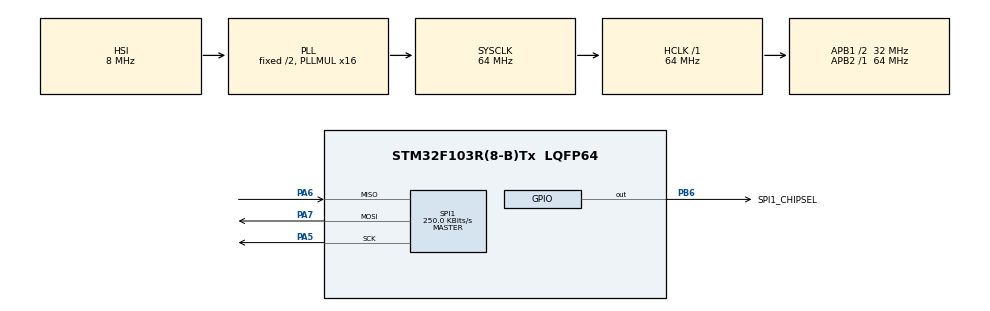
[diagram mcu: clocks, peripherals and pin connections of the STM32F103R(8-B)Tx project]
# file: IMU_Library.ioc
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Mcu.Family=STM32F1
Mcu.Name=STM32F103R(8-B)Tx
Mcu.Package=LQFP64
NVIC.PriorityGroup=NVIC_PRIORITYGROUP_4
PA5.Mode=Full_Duplex_Master
PA5.Signal=SPI1_SCK
PA6.Mode=Full_Duplex_Master
PA6.Signal=SPI1_MISO
PA7.Mode=Full_Duplex_Master
PA7.Signal=SPI1_MOSI
PB6.GPIO_Label=SPI1_CHIPSEL
PB6.Signal=GPIO_Output
ProjectManager.HeapSize=0x200
ProjectManager.StackSize=0x400
ProjectManager.TargetToolchain=MDK-ARM V5
RCC.AHBFreq_Value=64000000
RCC.APB1CLKDivider=RCC_HCLK_DIV2
RCC.APB1Freq_Value=32000000
RCC.APB1TimFreq_Value=64000000
RCC.APB2Freq_Value=64000000
RCC.APB2TimFreq_Value=64000000
RCC.HCLKFreq_Value=64000000
RCC.PLLMUL=RCC_PLL_MUL16
RCC.RTCClockSelection=RCC_RTCCLKSOURCE_LSE
RCC.SYSCLKFreq_VALUE=64000000
RCC.SYSCLKSource=RCC_SYSCLKSOURCE_PLLCLK
RCC.USBFreq_Value=64000000
SPI1.BaudRatePrescaler=SPI_BAUDRATEPRESCALER_256
SPI1.CalculateBaudRate=250.0 KBits/s
SPI1.Direction=SPI_DIRECTION_2LINES
SPI1.Mode=SPI_MODE_MASTER
SPI1.VirtualType=VM_MASTER
VP_SYS_VS_ND.Mode=No_Debug
board=NUCLEO-F103RB

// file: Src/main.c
/* USER CODE BEGIN Header */
/**
  ******************************************************************************
  * @file           : main.c
  * @brief          : Main program body
  ******************************************************************************
  ** This notice applies to any and all portions of this file
  * that are not between comment pairs USER CODE BEGIN and
  * USER CODE END. Other portions of this file, whether
  * inserted by the user or by software development tools
  * are owned by their respective copyright owners.
  *
  * COPYRIGHT(c) 2019 STMicroelectronics
  *
  * Redistribution and use in source and binary forms, with or without modification,
  * are permitted provided that the following conditions are met:
  *   1. Redistributions of source code must retain the above copyright notice,
  *      this list of conditions and the following disclaimer.
  *   2. Redistributions in binary form must reproduce the above copyright notice,
  *      this list of conditions and the following disclaimer in the documentation
  *      and/or other materials provided with the distribution.
  *   3. Neither the name of STMicroelectronics nor the names of its contributors
  *      may be used to endorse or promote products derived from this software
  *      without specific prior written permission.
  *
  * THIS SOFTWARE IS PROVIDED BY THE COPYRIGHT HOLDERS AND CONTRIBUTORS "AS IS"
  * AND ANY EXPRESS OR IMPLIED WARRANTIES, INCLUDING, BUT NOT LIMITED TO, THE
  * IMPLIED WARRANTIES OF MERCHANTABILITY AND FITNESS FOR A PARTICULAR PURPOSE ARE
  * DISCLAIMED. IN NO EVENT SHALL THE COPYRIGHT HOLDER OR CONTRIBUTORS BE LIABLE
  * FOR ANY DIRECT, INDIRECT, INCIDENTAL, SPECIAL, EXEMPLARY, OR CONSEQUENTIAL
  * DAMAGES (INCLUDING, BUT NOT LIMITED TO, PROCUREMENT OF SUBSTITUTE GOODS OR
  * SERVICES; LOSS OF USE, DATA, OR PROFITS; OR BUSINESS INTERRUPTION) HOWEVER
  * CAUSED AND ON ANY THEORY OF LIABILITY, WHETHER IN CONTRACT, STRICT LIABILITY,
  * OR TORT (INCLUDING NEGLIGENCE OR OTHERWISE) ARISING IN ANY WAY OUT OF THE USE
  * OF THIS SOFTWARE, EVEN IF ADVISED OF THE POSSIBILITY OF SUCH DAMAGE.
  *
  ******************************************************************************
  */
/* USER CODE END Header */

#include "main.h"

/* USER CODE BEGIN Includes */
#include "UM7_reg.h"
/* USER CODE END Includes */

SPI_HandleTypeDef hspi1;

void SystemClock_Config(void);
static void MX_GPIO_Init(void);
static void MX_SPI1_Init(void);

int main(void)
{

  /* MCU Configuration--------------------------------------------------------*/

  /* Reset of all peripherals, Initializes the Flash interface and the Systick. */
  HAL_Init();

  /* Configure the system clock */
  SystemClock_Config();

  /* Initialize all configured peripherals */
  MX_GPIO_Init();
  MX_SPI1_Init();
  /* USER CODE BEGIN 2 */
	HAL_GPIO_WritePin(GPIOB, SPI1_CHIPSEL_Pin, GPIO_PIN_SET);

//	HAL_GPIO_WritePin(GPIOB, SPI1_CHIPSEL_Pin, GPIO_PIN_RESET);
//
//	uint8_t output[5] = {0};
//	uint8_t reg = CREG_COM_SETTINGS;
//	//UM7_Read_Data(output, 4, CREG_COM_SETTINGS);

//	uint8_t requestData[2] = {reg};
//	HAL_SPI_Transmit(&hspi1, requestData, 1, 20);
//	while (HAL_SPI_GetState(&hspi1) != HAL_SPI_STATE_READY){};
//	HAL_SPI_Receive(&hspi1, &output[4], 1, 10);
//
//	//HAL_SPI_Receive(&hspi1, output, 4, 20);
//	for (int8_t i = 3; i >= 0; i--)
//	{
//		HAL_SPI_Transmit(&hspi1, 0x00, 1, 10);
//		while (HAL_SPI_GetState(&hspi1) != HAL_SPI_STATE_READY){};
//		HAL_Delay(1);
//		HAL_SPI_Receive(&hspi1, &output[i], 1, 10);
//
//	}
//
//	HAL_GPIO_WritePin(GPIOB, SPI1_CHIPSEL_Pin, GPIO_PIN_SET);

	// Test reading and writing to a register
	uint8_t output[5] = {0};
	UM7_Read_Data(&hspi1, output, 4, CREG_COM_SETTINGS);
	HAL_Delay(1);
	uint8_t newVal[4] = {0x00, 0x00, 0x00, 0x30};
	UM7_Write_Data(&hspi1, newVal, 4, CREG_COM_SETTINGS);
	HAL_Delay(1);
	uint8_t output2[4] = {0};
	UM7_Read_Data(&hspi1, output2, 4, CREG_COM_SETTINGS);

	uint8_t gyrRate = 150;
	uint8_t magRate = 100;

	// Initialize the sensors to be able to read data
	UM7_Init(&hspi1, gyrRate, magRate);

	// Read the value of the initialized register
	uint8_t initTest1[4] = {0};
	UM7_Read_Data(&hspi1, initTest1, 4, CREG_COM_RATES1);

	uint8_t initTest3[4] = {0};
	UM7_Read_Data(&hspi1, initTest3, 4, CREG_COM_RATES3);

	uint8_t health[4] = {0};
	UM7_Read_Data(&hspi1, health, 4, DREG_HEALTH);

	// Read data from the magnetometer
	float magData[3] = {0};
	float gyrData[3] = {0};
	int16_t rawData[1] = {0};
	get_mag_data(&hspi1, magData);

	// Read the magnetometer offset
	uint8_t magOff[12] = {0};
	get_mag_offsets(&hspi1, magOff);

  /* USER CODE END 2 */

  /* Infinite loop */
  /* USER CODE BEGIN WHILE */
  while (1)
  {
		get_mag_data(&hspi1, magData);
		HAL_Delay(10);
		get_gyr_data(&hspi1, gyrData);
		HAL_Delay(10);
//    /* USER CODE END WHILE */

//    /* USER CODE BEGIN 3 */
  }
  /* USER CODE END 3 */
}

void SystemClock_Config(void)
{
  RCC_OscInitTypeDef RCC_OscInitStruct = {0};
  RCC_ClkInitTypeDef RCC_ClkInitStruct = {0};

  /**Initializes the CPU, AHB and APB busses clocks
  */
  RCC_OscInitStruct.OscillatorType = RCC_OSCILLATORTYPE_HSI;
  RCC_OscInitStruct.HSIState = RCC_HSI_ON;
  RCC_OscInitStruct.HSICalibrationValue = RCC_HSICALIBRATION_DEFAULT;
  RCC_OscInitStruct.PLL.PLLState = RCC_PLL_ON;
  RCC_OscInitStruct.PLL.PLLSource = RCC_PLLSOURCE_HSI_DIV2;
  RCC_OscInitStruct.PLL.PLLMUL = RCC_PLL_MUL16;
  if (HAL_RCC_OscConfig(&RCC_OscInitStruct) != HAL_OK)
  {
    Error_Handler();
  }
  /**Initializes the CPU, AHB and APB busses clocks
  */
  RCC_ClkInitStruct.ClockType = RCC_CLOCKTYPE_HCLK|RCC_CLOCKTYPE_SYSCLK
                              |RCC_CLOCKTYPE_PCLK1|RCC_CLOCKTYPE_PCLK2;
  RCC_ClkInitStruct.SYSCLKSource = RCC_SYSCLKSOURCE_PLLCLK;
  RCC_ClkInitStruct.AHBCLKDivider = RCC_SYSCLK_DIV1;
  RCC_ClkInitStruct.APB1CLKDivider = RCC_HCLK_DIV2;
  RCC_ClkInitStruct.APB2CLKDivider = RCC_HCLK_DIV1;

  if (HAL_RCC_ClockConfig(&RCC_ClkInitStruct, FLASH_LATENCY_2) != HAL_OK)
  {
    Error_Handler();
  }
}

static void MX_SPI1_Init(void)
{

  /* SPI1 parameter configuration*/
  hspi1.Instance = SPI1;
  hspi1.Init.Mode = SPI_MODE_MASTER;
  hspi1.Init.Direction = SPI_DIRECTION_2LINES;
  hspi1.Init.DataSize = SPI_DATASIZE_8BIT;
  hspi1.Init.CLKPolarity = SPI_POLARITY_LOW;
  hspi1.Init.CLKPhase = SPI_PHASE_1EDGE;
  hspi1.Init.NSS = SPI_NSS_SOFT;
  hspi1.Init.BaudRatePrescaler = SPI_BAUDRATEPRESCALER_256;
  hspi1.Init.FirstBit = SPI_FIRSTBIT_MSB;
  hspi1.Init.TIMode = SPI_TIMODE_DISABLE;
  hspi1.Init.CRCCalculation = SPI_CRCCALCULATION_DISABLE;
  hspi1.Init.CRCPolynomial = 10;
  if (HAL_SPI_Init(&hspi1) != HAL_OK)
  {
    Error_Handler();
  }

}

static void MX_GPIO_Init(void)
{
  GPIO_InitTypeDef GPIO_InitStruct = {0};

  /* GPIO Ports Clock Enable */
  __HAL_RCC_GPIOA_CLK_ENABLE();
  __HAL_RCC_GPIOB_CLK_ENABLE();

  /*Configure GPIO pin Output Level */
  HAL_GPIO_WritePin(SPI1_CHIPSEL_GPIO_Port, SPI1_CHIPSEL_Pin, GPIO_PIN_RESET);

  /*Configure GPIO pin : SPI1_CHIPSEL_Pin */
  GPIO_InitStruct.Pin = SPI1_CHIPSEL_Pin;
  GPIO_InitStruct.Mode = GPIO_MODE_OUTPUT_PP;
  GPIO_InitStruct.Pull = GPIO_NOPULL;
  GPIO_InitStruct.Speed = GPIO_SPEED_FREQ_LOW;
  HAL_GPIO_Init(SPI1_CHIPSEL_GPIO_Port, &GPIO_InitStruct);

}

void Error_Handler(void)
{
}

/************************ (C) COPYRIGHT STMicroelectronics *****END OF FILE****/
